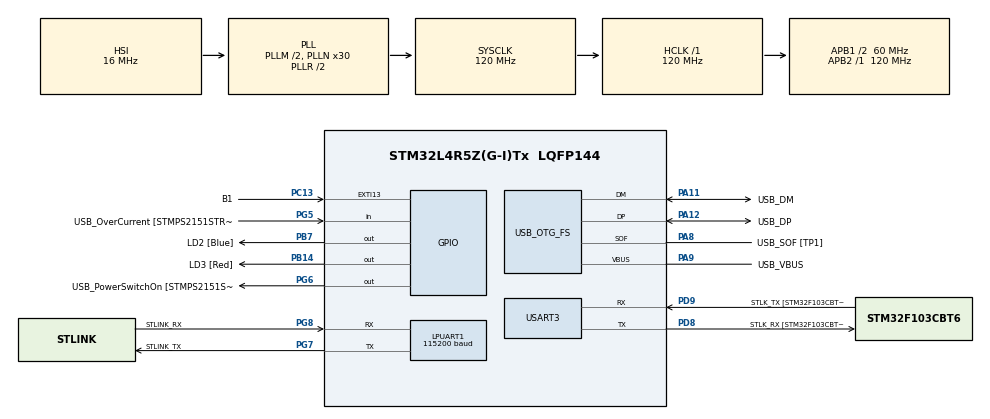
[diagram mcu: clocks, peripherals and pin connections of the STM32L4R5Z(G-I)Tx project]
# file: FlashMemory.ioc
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LPUART1.BaudRate=115200
LPUART1.WordLength=UART_WORDLENGTH_8B
Mcu.Family=STM32L4
Mcu.Name=STM32L4R5Z(G-I)Tx
Mcu.Package=LQFP144
NVIC.PriorityGroup=NVIC_PRIORITYGROUP_4
PA10.GPIO_Label=USB_ID
PA10.Signal=USB_OTG_FS_ID
PA11.GPIO_Label=USB_DM
PA11.Mode=Device_Only
PA11.Signal=USB_OTG_FS_DM
PA12.GPIO_Label=USB_DP
PA12.Mode=Device_Only
PA12.Signal=USB_OTG_FS_DP
PA13\ (JTMS/SWDIO).GPIO_Label=TMS
PA13\ (JTMS/SWDIO).Mode=Trace_Asynchronous_SW
PA13\ (JTMS/SWDIO).Signal=SYS_JTMS-SWDIO
PA14\ (JTCK/SWCLK).GPIO_Label=TCK
PA14\ (JTCK/SWCLK).Mode=Trace_Asynchronous_SW
PA14\ (JTCK/SWCLK).Signal=SYS_JTCK-SWCLK
PA8.GPIO_Label=USB_SOF [TP1]
PA8.Mode=Activate_SOF_FS
PA8.Signal=USB_OTG_FS_SOF
PA9.GPIO_Label=USB_VBUS
PA9.Mode=Activate_VBUS
PA9.Signal=USB_OTG_FS_VBUS
PB14.GPIO_Label=LD3 [Red]
PB14.Signal=GPIO_Output
PB3\ (JTDO/TRACESWO).GPIO_Label=SWO
PB3\ (JTDO/TRACESWO).Mode=Trace_Asynchronous_SW
PB3\ (JTDO/TRACESWO).Signal=SYS_JTDO-SWO
PB7.GPIO_Label=LD2 [Blue]
PB7.Signal=GPIO_Output
PC13.GPIO_Label=B1
PC13.Signal=GPXTI13
PC14-OSC32_IN\ (PC14).Mode=LSE-External-Oscillator
PC14-OSC32_IN\ (PC14).Signal=RCC_OSC32_IN
PC15-OSC32_OUT\ (PC15).Mode=LSE-External-Oscillator
PC15-OSC32_OUT\ (PC15).Signal=RCC_OSC32_OUT
PD8.GPIO_Label=STLK_RX [STM32F103CBT6_PA3]
PD8.Mode=Asynchronous
PD8.Signal=USART3_TX
PD9.GPIO_Label=STLK_TX [STM32F103CBT6_PA2]
PD9.Mode=Asynchronous
PD9.Signal=USART3_RX
PG5.GPIO_Label=USB_OverCurrent [STMPS2151STR_FAULT]
PG5.Signal=GPIO_Input
PG6.GPIO_Label=USB_PowerSwitchOn [STMPS2151STR_EN]
PG6.Signal=GPIO_Output
PG7.GPIO_Label=STLINK_TX
PG7.Mode=Asynchronous
PG7.Signal=LPUART1_TX
PG8.GPIO_Label=STLINK_RX
PG8.Mode=Asynchronous
PG8.Signal=LPUART1_RX
PH0-OSC_IN\ (PH0).Signal=RCC_OSC_IN
PH1-OSC_OUT\ (PH1).Signal=RCC_OSC_OUT
ProjectManager.HeapSize=0x200
ProjectManager.StackSize=0x400
ProjectManager.TargetToolchain=STM32CubeIDE
RCC.48MHZClocksFreq_Value=24000000
RCC.ADCFreq_Value=96000000
RCC.AHBFreq_Value=120000000
RCC.APB1CLKDivider=RCC_HCLK_DIV2
RCC.APB1Freq_Value=60000000
RCC.APB1TimFreq_Value=120000000
RCC.APB2Freq_Value=120000000
RCC.APB2TimFreq_Value=120000000
RCC.CK48CLockSelection=RCC_USBCLKSOURCE_HSI48
RCC.CortexFreq_Value=120000000
RCC.HCLKFreq_Value=120000000
RCC.HSE_VALUE=8000000
RCC.HSI48_VALUE=48000000
RCC.HSI_VALUE=16000000
RCC.MSI_VALUE=4000000
RCC.PLLM1=2
RCC.PLLMUL=RCC_PLL_MUL9
RCC.PLLN=30
RCC.PLLSAI1N=12
RCC.PLLSourceVirtual=RCC_PLLSOURCE_HSI
RCC.PRESCALERUSB=RCC_USBCLKSOURCE_PLL_DIV1_5
RCC.SYSCLKFreq_VALUE=120000000
RCC.SYSCLKSource=RCC_SYSCLKSOURCE_PLLCLK
RCC.SYSCLKSourceVirtual=RCC_SYSCLKSOURCE_PLLCLK
RCC.USBFreq_Value=48000000
RCC.VCOOutputFreq_Value=240000000
USART3.VirtualMode-Asynchronous=VM_ASYNC
USB_OTG_FS.VirtualMode=Device_Only
board=NUCLEO-L4R5ZI

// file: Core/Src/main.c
/* USER CODE BEGIN Header */
/**
  ******************************************************************************
  * @file           : main.c
  * @brief          : Main program body
  ******************************************************************************
  * @attention
  *
  * Copyright (c) 2023 STMicroelectronics.
  * All rights reserved.
  *
  * This software is licensed under terms that can be found in the LICENSE file
  * in the root directory of this software component.
  * If no LICENSE file comes with this software, it is provided AS-IS.
  *
  ******************************************************************************
  */
/* USER CODE END Header */
#include "main.h"

/* USER CODE BEGIN Includes */
#include <stdio.h>
#include <string.h>
#include <stdlib.h>

/* USER CODE END Includes */

UART_HandleTypeDef hlpuart1;
UART_HandleTypeDef huart3;

PCD_HandleTypeDef hpcd_USB_OTG_FS;

void SystemClock_Config(void);
static void MX_GPIO_Init(void);
static void MX_LPUART1_UART_Init(void);
static void MX_USART3_UART_Init(void);
static void MX_USB_OTG_FS_PCD_Init(void);
/* USER CODE BEGIN PFP */
#ifdef __GNUC__
#define PUTCHAR_PROTOTYPE int __io_putchar(int ch)
#else
#define PUTCHAR_PROTOTYPE int fputc(int ch, FILE *f)
#endif

PUTCHAR_PROTOTYPE
{
  HAL_UART_Transmit(&hlpuart1, (uint8_t *)&ch, 1, HAL_MAX_DELAY);
  return ch;
}

uint32_t FlashData(uint32_t startPageAddr, uint64_t* data, uint32_t numberWords);
uint32_t GetNumberPages(uint32_t startAddr, uint32_t numberWord);
static uint32_t GetPage(uint32_t Addr);
void ReadFlash(uint32_t address, uint32_t numberWords, uint32_t* buffer);

/* USER CODE END PFP */

/* USER CODE BEGIN 0 */

uint32_t FlashData(uint32_t startPageAddr, uint64_t* data, uint32_t numberWords)
{
	// unlocks the flash memory
	HAL_FLASH_Unlock();

	// define a struct that contains information to erase the flash memory
	FLASH_EraseInitTypeDef EraseInitStruct;

	EraseInitStruct.TypeErase = FLASH_TYPEERASE_PAGES;
	EraseInitStruct.Page = GetPage(startPageAddr);
	EraseInitStruct.NbPages = 1;
	EraseInitStruct.Banks = 2;

	uint32_t PAGEError;
	if (HAL_FLASHEx_Erase(&EraseInitStruct, &PAGEError) != HAL_OK)
	{
		return HAL_FLASH_GetError();
	}

	int doubleWordsWritten = 0;

	while (doubleWordsWritten * 2 < numberWords)
	{
		if (HAL_FLASH_Program(FLASH_TYPEPROGRAM_DOUBLEWORD, startPageAddr, data[doubleWordsWritten]) != HAL_OK)
		{
			HAL_FLASH_Lock();
			return HAL_FLASH_GetError();
		}
		startPageAddr += 8;
		doubleWordsWritten++;
	}

	HAL_FLASH_Lock();

	return 0;
}

uint32_t GetNumberPages(uint32_t startAddr, uint32_t numberWord)
{
	return (uint32_t)(((numberWord * 4) / 4096) + 1);
}

static uint32_t GetPage(uint32_t Addr)
{
  uint32_t page = 0;

  if (Addr < (FLASH_BASE + FLASH_BANK_SIZE))
  {
    /* Bank 1 */
    page = (Addr - FLASH_BASE) / FLASH_PAGE_SIZE;
  }
  else
  {
    /* Bank 2 */
    page = (Addr - (FLASH_BASE + FLASH_BANK_SIZE)) / FLASH_PAGE_SIZE;
  }

  return page;
}

void ReadFlash(uint32_t address, uint32_t numberWords, uint32_t* buffer)
{
	while (numberWords > 0)
	{
		*buffer = *(uint32_t*)address;
		address += 4;
		buffer++;
		numberWords -= 1;
	}
}

/* USER CODE END 0 */

int main(void)
{

  /* MCU Configuration--------------------------------------------------------*/

  /* Reset of all peripherals, Initializes the Flash interface and the Systick. */
  HAL_Init();

  /* Configure the system clock */
  SystemClock_Config();

  /* Initialize all configured peripherals */
  MX_GPIO_Init();
  MX_LPUART1_UART_Init();
  MX_USART3_UART_Init();
  MX_USB_OTG_FS_PCD_Init();
  /* USER CODE BEGIN 2 */

  char* data = "Hello World!!!";
  int numWords = strlen(data) / 4 + ((strlen(data) % 4) != 0);
  printf("Num Words: %d\r\n", numWords);

  uint32_t error = FlashData((uint32_t)0x081FF000, (uint64_t*)data, (uint32_t)numWords);
  printf("error: %lu\r\n", error);

  uint32_t* readData = malloc(sizeof(uint32_t) * numWords);
  ReadFlash(0x081FF000, numWords, readData);
  printf("Read Data: %s\r\n", (char*)readData);

  /* USER CODE END 2 */

  /* Infinite loop */
  while (1)
  {

  }
}

void SystemClock_Config(void)
{
  RCC_OscInitTypeDef RCC_OscInitStruct = {0};
  RCC_ClkInitTypeDef RCC_ClkInitStruct = {0};

  /** Configure the main internal regulator output voltage
  */
  if (HAL_PWREx_ControlVoltageScaling(PWR_REGULATOR_VOLTAGE_SCALE1_BOOST) != HAL_OK)
  {
    Error_Handler();
  }

  /** Initializes the RCC Oscillators according to the specified parameters
  * in the RCC_OscInitTypeDef structure.
  */
  RCC_OscInitStruct.OscillatorType = RCC_OSCILLATORTYPE_HSI48|RCC_OSCILLATORTYPE_HSI;
  RCC_OscInitStruct.HSIState = RCC_HSI_ON;
  RCC_OscInitStruct.HSI48State = RCC_HSI48_ON;
  RCC_OscInitStruct.HSICalibrationValue = RCC_HSICALIBRATION_DEFAULT;
  RCC_OscInitStruct.PLL.PLLState = RCC_PLL_ON;
  RCC_OscInitStruct.PLL.PLLSource = RCC_PLLSOURCE_HSI;
  RCC_OscInitStruct.PLL.PLLM = 2;
  RCC_OscInitStruct.PLL.PLLN = 30;
  RCC_OscInitStruct.PLL.PLLP = RCC_PLLP_DIV2;
  RCC_OscInitStruct.PLL.PLLQ = RCC_PLLQ_DIV2;
  RCC_OscInitStruct.PLL.PLLR = RCC_PLLR_DIV2;
  if (HAL_RCC_OscConfig(&RCC_OscInitStruct) != HAL_OK)
  {
    Error_Handler();
  }

  /** Initializes the CPU, AHB and APB buses clocks
  */
  RCC_ClkInitStruct.ClockType = RCC_CLOCKTYPE_HCLK|RCC_CLOCKTYPE_SYSCLK
                              |RCC_CLOCKTYPE_PCLK1|RCC_CLOCKTYPE_PCLK2;
  RCC_ClkInitStruct.SYSCLKSource = RCC_SYSCLKSOURCE_PLLCLK;
  RCC_ClkInitStruct.AHBCLKDivider = RCC_SYSCLK_DIV1;
  RCC_ClkInitStruct.APB1CLKDivider = RCC_HCLK_DIV2;
  RCC_ClkInitStruct.APB2CLKDivider = RCC_HCLK_DIV1;

  if (HAL_RCC_ClockConfig(&RCC_ClkInitStruct, FLASH_LATENCY_5) != HAL_OK)
  {
    Error_Handler();
  }
}

static void MX_LPUART1_UART_Init(void)
{

  hlpuart1.Instance = LPUART1;
  hlpuart1.Init.BaudRate = 115200;
  hlpuart1.Init.WordLength = UART_WORDLENGTH_8B;
  hlpuart1.Init.StopBits = UART_STOPBITS_1;
  hlpuart1.Init.Parity = UART_PARITY_NONE;
  hlpuart1.Init.Mode = UART_MODE_TX_RX;
  hlpuart1.Init.HwFlowCtl = UART_HWCONTROL_NONE;
  hlpuart1.Init.OneBitSampling = UART_ONE_BIT_SAMPLE_DISABLE;
  hlpuart1.Init.ClockPrescaler = UART_PRESCALER_DIV1;
  hlpuart1.AdvancedInit.AdvFeatureInit = UART_ADVFEATURE_NO_INIT;
  hlpuart1.FifoMode = UART_FIFOMODE_DISABLE;
  if (HAL_UART_Init(&hlpuart1) != HAL_OK)
  {
    Error_Handler();
  }
  if (HAL_UARTEx_SetTxFifoThreshold(&hlpuart1, UART_TXFIFO_THRESHOLD_1_8) != HAL_OK)
  {
    Error_Handler();
  }
  if (HAL_UARTEx_SetRxFifoThreshold(&hlpuart1, UART_RXFIFO_THRESHOLD_1_8) != HAL_OK)
  {
    Error_Handler();
  }
  if (HAL_UARTEx_DisableFifoMode(&hlpuart1) != HAL_OK)
  {
    Error_Handler();
  }

}

static void MX_USART3_UART_Init(void)
{

  huart3.Instance = USART3;
  huart3.Init.BaudRate = 115200;
  huart3.Init.WordLength = UART_WORDLENGTH_8B;
  huart3.Init.StopBits = UART_STOPBITS_1;
  huart3.Init.Parity = UART_PARITY_NONE;
  huart3.Init.Mode = UART_MODE_TX_RX;
  huart3.Init.HwFlowCtl = UART_HWCONTROL_NONE;
  huart3.Init.OverSampling = UART_OVERSAMPLING_16;
  huart3.Init.OneBitSampling = UART_ONE_BIT_SAMPLE_DISABLE;
  huart3.Init.ClockPrescaler = UART_PRESCALER_DIV1;
  huart3.AdvancedInit.AdvFeatureInit = UART_ADVFEATURE_NO_INIT;
  if (HAL_UART_Init(&huart3) != HAL_OK)
  {
    Error_Handler();
  }
  if (HAL_UARTEx_SetTxFifoThreshold(&huart3, UART_TXFIFO_THRESHOLD_1_8) != HAL_OK)
  {
    Error_Handler();
  }
  if (HAL_UARTEx_SetRxFifoThreshold(&huart3, UART_RXFIFO_THRESHOLD_1_8) != HAL_OK)
  {
    Error_Handler();
  }
  if (HAL_UARTEx_DisableFifoMode(&huart3) != HAL_OK)
  {
    Error_Handler();
  }

}

static void MX_USB_OTG_FS_PCD_Init(void)
{

  hpcd_USB_OTG_FS.Instance = USB_OTG_FS;
  hpcd_USB_OTG_FS.Init.dev_endpoints = 6;
  hpcd_USB_OTG_FS.Init.speed = PCD_SPEED_FULL;
  hpcd_USB_OTG_FS.Init.phy_itface = PCD_PHY_EMBEDDED;
  hpcd_USB_OTG_FS.Init.Sof_enable = ENABLE;
  hpcd_USB_OTG_FS.Init.low_power_enable = DISABLE;
  hpcd_USB_OTG_FS.Init.lpm_enable = DISABLE;
  hpcd_USB_OTG_FS.Init.battery_charging_enable = ENABLE;
  hpcd_USB_OTG_FS.Init.use_dedicated_ep1 = DISABLE;
  hpcd_USB_OTG_FS.Init.vbus_sensing_enable = ENABLE;
  if (HAL_PCD_Init(&hpcd_USB_OTG_FS) != HAL_OK)
  {
    Error_Handler();
  }

}

static void MX_GPIO_Init(void)
{
  GPIO_InitTypeDef GPIO_InitStruct = {0};

  /* GPIO Ports Clock Enable */
  __HAL_RCC_GPIOC_CLK_ENABLE();
  __HAL_RCC_GPIOH_CLK_ENABLE();
  __HAL_RCC_GPIOB_CLK_ENABLE();
  __HAL_RCC_GPIOD_CLK_ENABLE();
  __HAL_RCC_GPIOG_CLK_ENABLE();
  HAL_PWREx_EnableVddIO2();
  __HAL_RCC_GPIOA_CLK_ENABLE();

  /*Configure GPIO pin Output Level */
  HAL_GPIO_WritePin(GPIOB, LD3_Pin|LD2_Pin, GPIO_PIN_RESET);

  /*Configure GPIO pin Output Level */
  HAL_GPIO_WritePin(USB_PowerSwitchOn_GPIO_Port, USB_PowerSwitchOn_Pin, GPIO_PIN_RESET);

  /*Configure GPIO pin : B1_Pin */
  GPIO_InitStruct.Pin = B1_Pin;
  GPIO_InitStruct.Mode = GPIO_MODE_IT_RISING;
  GPIO_InitStruct.Pull = GPIO_NOPULL;
  HAL_GPIO_Init(B1_GPIO_Port, &GPIO_InitStruct);

  /*Configure GPIO pins : LD3_Pin LD2_Pin */
  GPIO_InitStruct.Pin = LD3_Pin|LD2_Pin;
  GPIO_InitStruct.Mode = GPIO_MODE_OUTPUT_PP;
  GPIO_InitStruct.Pull = GPIO_NOPULL;
  GPIO_InitStruct.Speed = GPIO_SPEED_FREQ_LOW;
  HAL_GPIO_Init(GPIOB, &GPIO_InitStruct);

  /*Configure GPIO pin : USB_OverCurrent_Pin */
  GPIO_InitStruct.Pin = USB_OverCurrent_Pin;
  GPIO_InitStruct.Mode = GPIO_MODE_INPUT;
  GPIO_InitStruct.Pull = GPIO_NOPULL;
  HAL_GPIO_Init(USB_OverCurrent_GPIO_Port, &GPIO_InitStruct);

  /*Configure GPIO pin : USB_PowerSwitchOn_Pin */
  GPIO_InitStruct.Pin = USB_PowerSwitchOn_Pin;
  GPIO_InitStruct.Mode = GPIO_MODE_OUTPUT_PP;
  GPIO_InitStruct.Pull = GPIO_NOPULL;
  GPIO_InitStruct.Speed = GPIO_SPEED_FREQ_LOW;
  HAL_GPIO_Init(USB_PowerSwitchOn_GPIO_Port, &GPIO_InitStruct);

}

void Error_Handler(void)
{
  __disable_irq();
  while (1)
  {
  }
}
